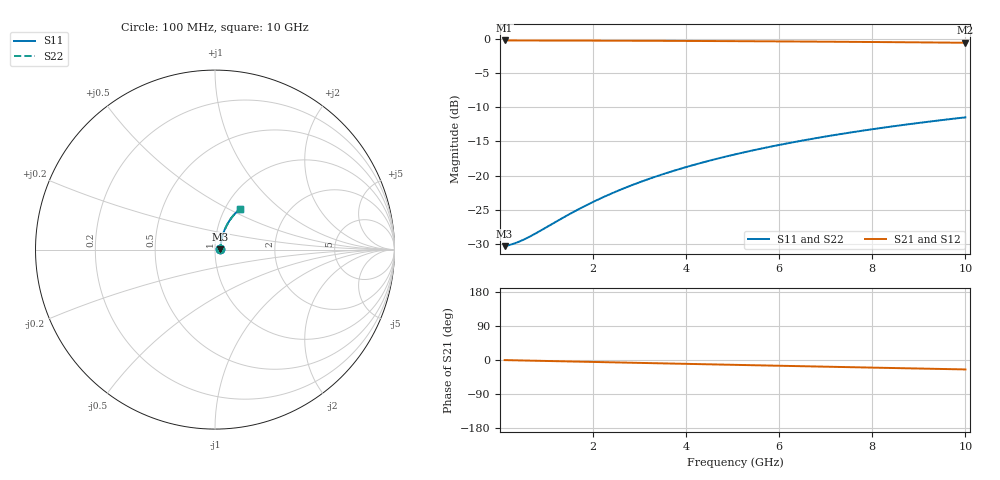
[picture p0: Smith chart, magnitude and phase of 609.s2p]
# Hz S RI R 50.00
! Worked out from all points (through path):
!   100 points, 100 MHz to 10 GHz, reference 50 ohm
!   highest |S21| = -0.27 dB at 100 MHz (marker M1); lowest = -0.6 dB at 10 GHz (marker M2)
!   group delay of S21, straight-line fit = 6.92 ps
!   lowest |S11| = -30.3 dB at 100 MHz (marker M3), VSWR 1.06, Z = 53.1 + j0.284 ohm
!   |S11| at or under -10 dB: start of sweep to end of sweep
!   |S22| runs from -30.3 to -11.5 dB; largest |S21 - S12| = 0
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1e8  0.0304 0.00267  0.9696 -0.00432  0.9696 -0.00432  0.0304 0.00267
2e8  0.0307 0.00533  0.9693 -0.00864  0.9693 -0.00864  0.0307 0.00533
3e8  0.0309 0.008  0.9691 -0.013  0.9691 -0.013  0.0309 0.008
4e8  0.0311 0.0107  0.9689 -0.0173  0.9689 -0.0173  0.0311 0.0107
6e8  0.0315 0.016  0.9685 -0.0259  0.9685 -0.0259  0.0315 0.016
8e8  0.032 0.0213  0.9679 -0.0345  0.9679 -0.0345  0.032 0.0213
1.4e9  0.0339 0.0371  0.9659 -0.0603  0.9659 -0.0603  0.0339 0.0371
1.8e9  0.0355 0.0476  0.964 -0.0774  0.964 -0.0774  0.0355 0.0476
2.2e9  0.0376 0.058  0.9617 -0.0944  0.9617 -0.0944  0.0376 0.058
2.6e9  0.0399 0.0683  0.9591 -0.1113  0.9591 -0.1113  0.0399 0.0683
3e9  0.0427 0.0785  0.956 -0.1281  0.956 -0.1281  0.0427 0.0785
3.4e9  0.0458 0.0886  0.9526 -0.1449  0.9526 -0.1449  0.0458 0.0886
3.8e9  0.0492 0.0986  0.9488 -0.1614  0.9488 -0.1614  0.0492 0.0986
4.2e9  0.0529 0.1084  0.9446 -0.1779  0.9446 -0.1779  0.0529 0.1084
4.6e9  0.057 0.118  0.94 -0.1941  0.94 -0.1941  0.057 0.118
5.1e9  0.0626 0.1298  0.9337 -0.2142  0.9337 -0.2142  0.0626 0.1298
5.9e9  0.0725 0.1481  0.9226 -0.2457  0.9226 -0.2457  0.0725 0.1481
6.7e9  0.0835 0.1655  0.9101 -0.2764  0.9101 -0.2764  0.0835 0.1655
7.5e9  0.0957 0.1819  0.8964 -0.3062  0.8964 -0.3062  0.0957 0.1819
8.4e9  0.1105 0.1993  0.8795 -0.3385  0.8795 -0.3385  0.1105 0.1993
9.2e9  0.1247 0.2135  0.8634 -0.3661  0.8634 -0.3661  0.1247 0.2135
1e10  0.1396 0.2267  0.8463 -0.3926  0.8463 -0.3926  0.1396 0.2267
